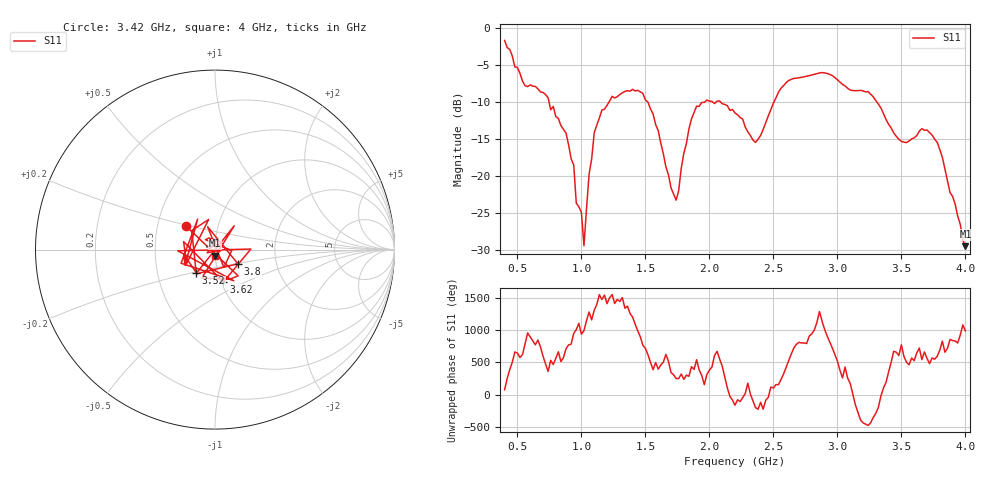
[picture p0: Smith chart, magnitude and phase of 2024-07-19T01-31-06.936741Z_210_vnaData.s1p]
!Created with skrf (http://scikit-rf.org).
# Hz S RI R 50.0
!freq ReS11 ImS11
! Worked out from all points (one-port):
!   181 points, 400 MHz to 4 GHz, reference 50 ohm
!   lowest |S11| = -29.5 dB at 4 GHz (marker M1), VSWR 1.07, Z = 49.7 - j3.32 ohm
!   |S11| at or under -10 dB: 746.4 MHz to 1.218 GHz (471.2 MHz wide, 48 % of centre); 1.515 GHz to 1.967 GHz (451.5 MHz wide, 25.9 % of centre); 3.306 GHz to end of sweep (the widest 3 of 5)
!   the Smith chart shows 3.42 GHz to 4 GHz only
!   S11 on the Smith chart (normalised r, x): 3.42 GHz: 0.70, +0.19; 3.52 GHz: 0.79, -0.21; 3.62 GHz: 1.02, -0.38; 3.8 GHz: 1.27, -0.21; 4 GHz: 0.99, -0.07
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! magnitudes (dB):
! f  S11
! 400 MHz  -1.7
! 560 MHz  -7.8
! 720 MHz  -9.0
! 860 MHz  -13.8
! 940 MHz  -18.5
! 960 MHz  -23.7
! 1 GHz  -24.9
! 1.02 GHz  -29.5
! 1.06 GHz  -19.8
! 1.1 GHz  -14.2
! 1.3 GHz  -9.0
! 1.48 GHz  -8.9
! 1.6 GHz  -13.9
! 1.7 GHz  -21.6
! 1.76 GHz  -22.0
! 1.84 GHz  -13.7
! 1.9 GHz  -10.6
! 2.2 GHz  -11.5
! 2.36 GHz  -15.5
! 2.66 GHz  -6.9
! 3.1 GHz  -8.4
! 3.24 GHz  -8.7
! 3.42 GHz  -13.6
! 3.52 GHz  -15.5
! 3.56 GHz  -15.3
! 3.62 GHz  -14.6
! 3.8 GHz  -16.5
! 4 GHz  -29.5
